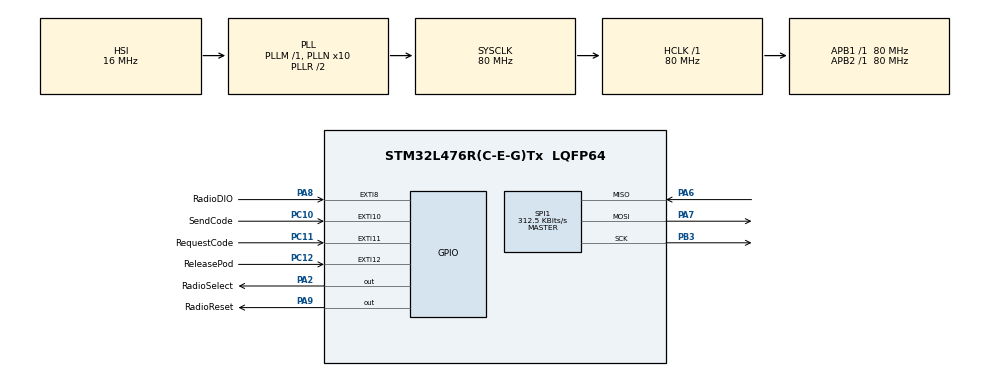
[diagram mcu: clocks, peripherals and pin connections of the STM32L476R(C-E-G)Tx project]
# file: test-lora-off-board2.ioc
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Mcu.Family=STM32L4
Mcu.Name=STM32L476R(C-E-G)Tx
Mcu.Package=LQFP64
NVIC.EXTI15_10_IRQn=true\:0\:0\:false\:false\:true\:true\:true\:true
NVIC.EXTI9_5_IRQn=true\:0\:0\:false\:false\:true\:true\:true\:true
NVIC.PriorityGroup=NVIC_PRIORITYGROUP_4
NVIC.SPI1_IRQn=true\:0\:0\:false\:false\:true\:true\:true\:true
PA13\ (JTMS-SWDIO).Mode=Serial_Wire
PA13\ (JTMS-SWDIO).Signal=SYS_JTMS-SWDIO
PA14\ (JTCK-SWCLK).Mode=Serial_Wire
PA14\ (JTCK-SWCLK).Signal=SYS_JTCK-SWCLK
PA2.GPIO_Label=RadioSelect
PA2.Signal=GPIO_Output
PA6.Mode=Full_Duplex_Master
PA6.Signal=SPI1_MISO
PA7.Mode=Full_Duplex_Master
PA7.Signal=SPI1_MOSI
PA8.GPIO_Label=RadioDIO
PA8.Signal=GPXTI8
PA9.GPIO_Label=RadioReset
PA9.Signal=GPIO_Output
PB3\ (JTDO-TRACESWO).Mode=Full_Duplex_Master
PB3\ (JTDO-TRACESWO).Signal=SPI1_SCK
PC10.GPIO_Label=SendCode
PC10.Signal=GPXTI10
PC11.GPIO_Label=RequestCode
PC11.Signal=GPXTI11
PC12.GPIO_Label=ReleasePod
PC12.Signal=GPXTI12
ProjectManager.HeapSize=0x200
ProjectManager.StackSize=0x400
ProjectManager.TargetToolchain=STM32CubeIDE
RCC.ADCFreq_Value=64000000
RCC.AHBFreq_Value=80000000
RCC.APB1Freq_Value=80000000
RCC.APB1TimFreq_Value=80000000
RCC.APB2Freq_Value=80000000
RCC.APB2TimFreq_Value=80000000
RCC.CortexFreq_Value=80000000
RCC.HCLKFreq_Value=80000000
RCC.HSE_VALUE=8000000
RCC.HSI_VALUE=16000000
RCC.LSE_VALUE=32768
RCC.MSI_VALUE=4000000
RCC.PLLN=10
RCC.PLLSourceVirtual=RCC_PLLSOURCE_HSI
RCC.SYSCLKFreq_VALUE=80000000
RCC.SYSCLKSource=RCC_SYSCLKSOURCE_PLLCLK
RCC.USBFreq_Value=64000000
RCC.VCOOutputFreq_Value=160000000
SPI1.BaudRatePrescaler=SPI_BAUDRATEPRESCALER_256
SPI1.CalculateBaudRate=312.5 KBits/s
SPI1.DataSize=SPI_DATASIZE_8BIT
SPI1.Direction=SPI_DIRECTION_2LINES
SPI1.Mode=SPI_MODE_MASTER
SPI1.NSSPMode=SPI_NSS_PULSE_DISABLE
SPI1.VirtualType=VM_MASTER
board=custom

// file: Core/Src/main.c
/* USER CODE BEGIN Header */
/**
  ******************************************************************************
  * @file           : main.c
  * @brief          : Main program body
  ******************************************************************************
  * @attention
  *
  * Copyright (c) 2024 STMicroelectronics.
  * All rights reserved.
  *
  * This software is licensed under terms that can be found in the LICENSE file
  * in the root directory of this software component.
  * If no LICENSE file comes with this software, it is provided AS-IS.
  *
  ******************************************************************************
  */
/* USER CODE END Header */
#include "main.h"

/* USER CODE BEGIN Includes */
#include "Custom/util.h"
#include "Custom/timed-lock.h"
#include "Custom/lora.h"
/* USER CODE END Includes */

SPI_HandleTypeDef hspi1;

/* USER CODE BEGIN PV */
const pin_t cs = { GPIOA, GPIO_PIN_2 }, rst = { GPIOA, GPIO_PIN_9 };
uint8_t buffer[1] = {0};
lora_t lora;
timed_lock_t send_code_lock, req_code_lock, release_pod_lock;
volatile bool do_transmit = false;
/* USER CODE END PV */

void SystemClock_Config(void);
static void MX_GPIO_Init(void);
static void MX_SPI1_Init(void);

/* USER CODE BEGIN 0 */
void transmit_message(void) {
	if (++buffer[0] > 7) buffer[0] = 0;
	do_transmit = true;
}

void setup(void) {
	lora_init(&lora, &hspi1, &cs, &rst);
	lora_set_tx_power(&lora, 20);

	timed_lock_init(&send_code_lock, 100, transmit_message);
	timed_lock_init(&req_code_lock, 100, transmit_message);
	timed_lock_init(&release_pod_lock, 100, transmit_message);
}

void loop(void) {
	if (do_transmit) {
		lora_begin_packet(&lora, false);
		lora_write_bytes(&lora, buffer, sizeof(buffer));
		lora_end_packet(&lora, true);
		do_transmit = false;
	}
}

void HAL_GPIO_EXTI_Callback(uint16_t pin) {
	switch (pin) {
	  case SendCode_Pin:
		  timed_lock_call(&send_code_lock, HAL_GetTick());
		  break;
	  case RequestCode_Pin:
      timed_lock_call(&req_code_lock, HAL_GetTick());
      break;
	  case ReleasePod_Pin:
      timed_lock_call(&release_pod_lock, HAL_GetTick());
      break;
	  }
}
/* USER CODE END 0 */

int main(void)
{

  /* MCU Configuration--------------------------------------------------------*/

  /* Reset of all peripherals, Initializes the Flash interface and the Systick. */
  HAL_Init();

  /* Configure the system clock */
  SystemClock_Config();

  /* Initialize all configured peripherals */
  MX_GPIO_Init();
  MX_SPI1_Init();

  /* Infinite loop */
  /* USER CODE BEGIN WHILE */
  setup();
  while (1)
  {
	  loop();
    /* USER CODE END WHILE */

  }
}

void SystemClock_Config(void)
{
  RCC_OscInitTypeDef RCC_OscInitStruct = {0};
  RCC_ClkInitTypeDef RCC_ClkInitStruct = {0};

  /** Configure the main internal regulator output voltage
  */
  if (HAL_PWREx_ControlVoltageScaling(PWR_REGULATOR_VOLTAGE_SCALE1) != HAL_OK)
  {
    Error_Handler();
  }

  /** Initializes the RCC Oscillators according to the specified parameters
  * in the RCC_OscInitTypeDef structure.
  */
  RCC_OscInitStruct.OscillatorType = RCC_OSCILLATORTYPE_HSI;
  RCC_OscInitStruct.HSIState = RCC_HSI_ON;
  RCC_OscInitStruct.HSICalibrationValue = RCC_HSICALIBRATION_DEFAULT;
  RCC_OscInitStruct.PLL.PLLState = RCC_PLL_ON;
  RCC_OscInitStruct.PLL.PLLSource = RCC_PLLSOURCE_HSI;
  RCC_OscInitStruct.PLL.PLLM = 1;
  RCC_OscInitStruct.PLL.PLLN = 10;
  RCC_OscInitStruct.PLL.PLLP = RCC_PLLP_DIV7;
  RCC_OscInitStruct.PLL.PLLQ = RCC_PLLQ_DIV2;
  RCC_OscInitStruct.PLL.PLLR = RCC_PLLR_DIV2;
  if (HAL_RCC_OscConfig(&RCC_OscInitStruct) != HAL_OK)
  {
    Error_Handler();
  }

  /** Initializes the CPU, AHB and APB buses clocks
  */
  RCC_ClkInitStruct.ClockType = RCC_CLOCKTYPE_HCLK|RCC_CLOCKTYPE_SYSCLK
                              |RCC_CLOCKTYPE_PCLK1|RCC_CLOCKTYPE_PCLK2;
  RCC_ClkInitStruct.SYSCLKSource = RCC_SYSCLKSOURCE_PLLCLK;
  RCC_ClkInitStruct.AHBCLKDivider = RCC_SYSCLK_DIV1;
  RCC_ClkInitStruct.APB1CLKDivider = RCC_HCLK_DIV1;
  RCC_ClkInitStruct.APB2CLKDivider = RCC_HCLK_DIV1;

  if (HAL_RCC_ClockConfig(&RCC_ClkInitStruct, FLASH_LATENCY_4) != HAL_OK)
  {
    Error_Handler();
  }
}

static void MX_SPI1_Init(void)
{

  /* SPI1 parameter configuration*/
  hspi1.Instance = SPI1;
  hspi1.Init.Mode = SPI_MODE_MASTER;
  hspi1.Init.Direction = SPI_DIRECTION_2LINES;
  hspi1.Init.DataSize = SPI_DATASIZE_8BIT;
  hspi1.Init.CLKPolarity = SPI_POLARITY_LOW;
  hspi1.Init.CLKPhase = SPI_PHASE_1EDGE;
  hspi1.Init.NSS = SPI_NSS_SOFT;
  hspi1.Init.BaudRatePrescaler = SPI_BAUDRATEPRESCALER_256;
  hspi1.Init.FirstBit = SPI_FIRSTBIT_MSB;
  hspi1.Init.TIMode = SPI_TIMODE_DISABLE;
  hspi1.Init.CRCCalculation = SPI_CRCCALCULATION_DISABLE;
  hspi1.Init.CRCPolynomial = 7;
  hspi1.Init.CRCLength = SPI_CRC_LENGTH_DATASIZE;
  hspi1.Init.NSSPMode = SPI_NSS_PULSE_DISABLE;
  if (HAL_SPI_Init(&hspi1) != HAL_OK)
  {
    Error_Handler();
  }

}

static void MX_GPIO_Init(void)
{
  GPIO_InitTypeDef GPIO_InitStruct = {0};

  /* GPIO Ports Clock Enable */
  __HAL_RCC_GPIOA_CLK_ENABLE();
  __HAL_RCC_GPIOC_CLK_ENABLE();
  __HAL_RCC_GPIOB_CLK_ENABLE();

  /*Configure GPIO pin Output Level */
  HAL_GPIO_WritePin(GPIOA, RadioSelect_Pin|RadioReset_Pin, GPIO_PIN_RESET);

  /*Configure GPIO pins : RadioSelect_Pin RadioReset_Pin */
  GPIO_InitStruct.Pin = RadioSelect_Pin|RadioReset_Pin;
  GPIO_InitStruct.Mode = GPIO_MODE_OUTPUT_PP;
  GPIO_InitStruct.Pull = GPIO_NOPULL;
  GPIO_InitStruct.Speed = GPIO_SPEED_FREQ_LOW;
  HAL_GPIO_Init(GPIOA, &GPIO_InitStruct);

  /*Configure GPIO pin : RadioDIO_Pin */
  GPIO_InitStruct.Pin = RadioDIO_Pin;
  GPIO_InitStruct.Mode = GPIO_MODE_IT_RISING;
  GPIO_InitStruct.Pull = GPIO_NOPULL;
  HAL_GPIO_Init(RadioDIO_GPIO_Port, &GPIO_InitStruct);

  /*Configure GPIO pins : SendCode_Pin RequestCode_Pin ReleasePod_Pin */
  GPIO_InitStruct.Pin = SendCode_Pin|RequestCode_Pin|ReleasePod_Pin;
  GPIO_InitStruct.Mode = GPIO_MODE_IT_RISING;
  GPIO_InitStruct.Pull = GPIO_NOPULL;
  HAL_GPIO_Init(GPIOC, &GPIO_InitStruct);

  /* EXTI interrupt init*/
  HAL_NVIC_SetPriority(EXTI9_5_IRQn, 0, 0);
  HAL_NVIC_EnableIRQ(EXTI9_5_IRQn);

  HAL_NVIC_SetPriority(EXTI15_10_IRQn, 0, 0);
  HAL_NVIC_EnableIRQ(EXTI15_10_IRQn);

}

void Error_Handler(void)
{
  __disable_irq();
  while (1)
  {
  }
}
